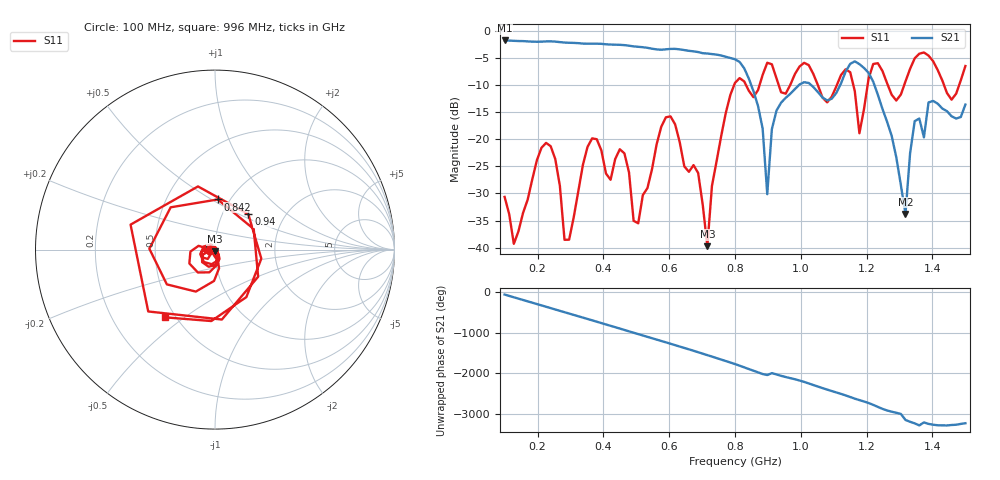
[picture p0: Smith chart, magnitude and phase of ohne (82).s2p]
! NanoVNA-App
! Date: 2025-09-26 09:56:02
! Start: 100MHz Stop: 1,5GHz Points: 101
! S-Parameter data: F S11 S21 S12 S22
# Hz S RI R 50
!  Frequency  S11_Real  S11_Imag  S21_Real  S21_Imag  S12_Real  S12_Imag  S22_Real  S22_Imag
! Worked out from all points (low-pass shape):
!   101 points, 100 MHz to 1.5 GHz, reference 50 ohm
!   highest |S21| = -1.79 dB at 100 MHz (marker M1); lowest = -33.8 dB at 1.318 GHz (marker M2)
!   |S21| within 3 dB of the highest: start of sweep to 771.4 MHz
!   lowest |S11| = -39.7 dB at 716 MHz (marker M3), VSWR 1.02, Z = 49.9 - j1.03 ohm
!   |S11| at or under -10 dB: start of sweep to 797.5 MHz; 833.4 MHz to 874.7 MHz (41.3 MHz wide, 4.84 % of centre); 1.052 GHz to 1.11 GHz (57.97 MHz wide, 5.36 % of centre)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
!   S12 and S22 are empty: the file has one direction only
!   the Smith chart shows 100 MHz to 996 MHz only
!   S11 on the Smith chart (normalised r, x): 100 MHz: 0.94, -0.01; 842 MHz: 0.88, +0.53; 940 MHz: 1.32, +0.56; 996 MHz: 0.44, -0.43
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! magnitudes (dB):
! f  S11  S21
! 100 MHz  -30.6  -1.8
! 128 MHz  -39.3  -1.9
! 226 MHz  -20.7  -2.0
! 296 MHz  -38.5  -2.2
! 338 MHz  -24.7  -2.4
! 464 MHz  -22.6  -2.6
! 506 MHz  -35.5  -3.0
! 576 MHz  -17.7  -3.5
! 688 MHz  -26.2  -3.9
! 716 MHz  -39.7  -4.2
! 800 MHz  -9.6  -5.3
! 842 MHz  -11.1  -8.8
! 898 MHz  -5.9  -30.1
! 940 MHz  -11.3  -13.3
! 996 MHz  -6.6  -9.9
! 1.038 GHz  -8.0  -10.4
! 1.178 GHz  -18.9  -6.2
! 1.22 GHz  -6.1  -9.4
! 1.276 GHz  -11.8  -19.4
! 1.318 GHz  -9.3  -33.8
! 1.346 GHz  -5.1  -16.7
! 1.5 GHz  -6.5  -13.6
